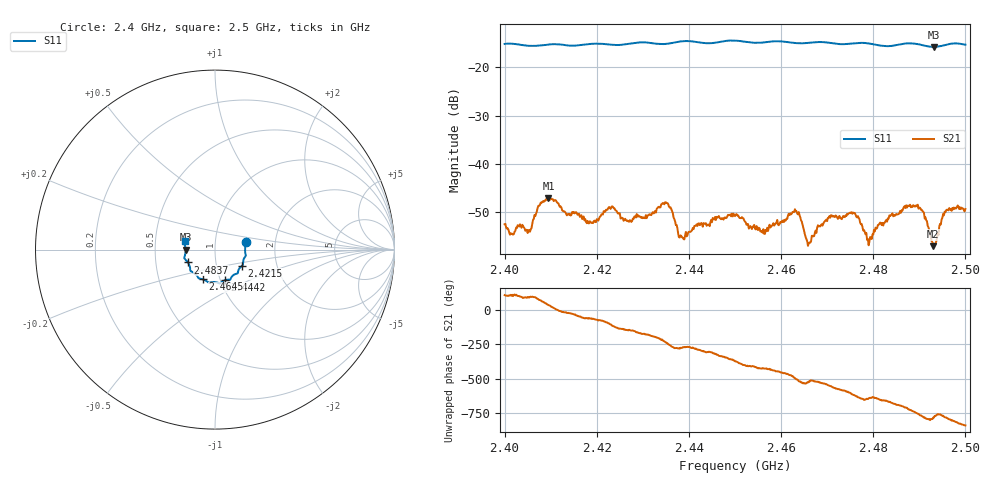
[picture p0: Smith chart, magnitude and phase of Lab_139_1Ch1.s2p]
# Hz S RI R 50
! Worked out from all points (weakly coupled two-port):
!   601 points, 2.4 GHz to 2.5 GHz, reference 50 ohm
!   highest |S21| = -47.16 dB at 2.4095 GHz (marker M1); lowest = -57.2 dB at 2.493 GHz (marker M2)
!   lowest |S11| = -15.7 dB at 2.4932 GHz (marker M3), VSWR 1.39, Z = 35.9 - j0.0524 ohm
!   |S11| at or under -10 dB: start of sweep to end of sweep
!   S12 and S22 are empty: the file has one direction only
!   S11 on the Smith chart (normalised r, x): 2.4 GHz: 1.41, +0.12; 2.4215 GHz: 1.33, -0.25; 2.4442 GHz: 1.05, -0.37; 2.4645 GHz: 0.83, -0.29; 2.4837 GHz: 0.73, -0.11; 2.5 GHz: 0.71, +0.07
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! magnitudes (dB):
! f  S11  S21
! 2.4 GHz  -15.1  -52.6
! 2.4053 GHz  -15.5  -53.8
! 2.4095 GHz  -15.2  -47.2
! 2.4167 GHz  -15.3  -50.7
! 2.4215 GHz  -15.1  -49.9
! 2.4333 GHz  -15.1  -49.0
! 2.4355 GHz  -15.0  -48.4
! 2.4385 GHz  -14.6  -55.3
! 2.4442 GHz  -15.0  -52.7
! 2.45 GHz  -14.4  -50.9
! 2.4645 GHz  -15.0  -52.1
! 2.4667 GHz  -14.8  -55.0
! 2.4708 GHz  -14.9  -50.7
! 2.4757 GHz  -15.0  -50.2
! 2.4792 GHz  -15.0  -56.3
! 2.4833 GHz  -15.6  -51.5
! 2.4837 GHz  -15.5  -50.9
! 2.4898 GHz  -15.2  -49.4
! 2.493 GHz  -15.7  -57.2
! 2.4932 GHz  -15.7  -56.9
! 2.4957 GHz  -15.3  -50.1
! 2.5 GHz  -15.3  -49.5
